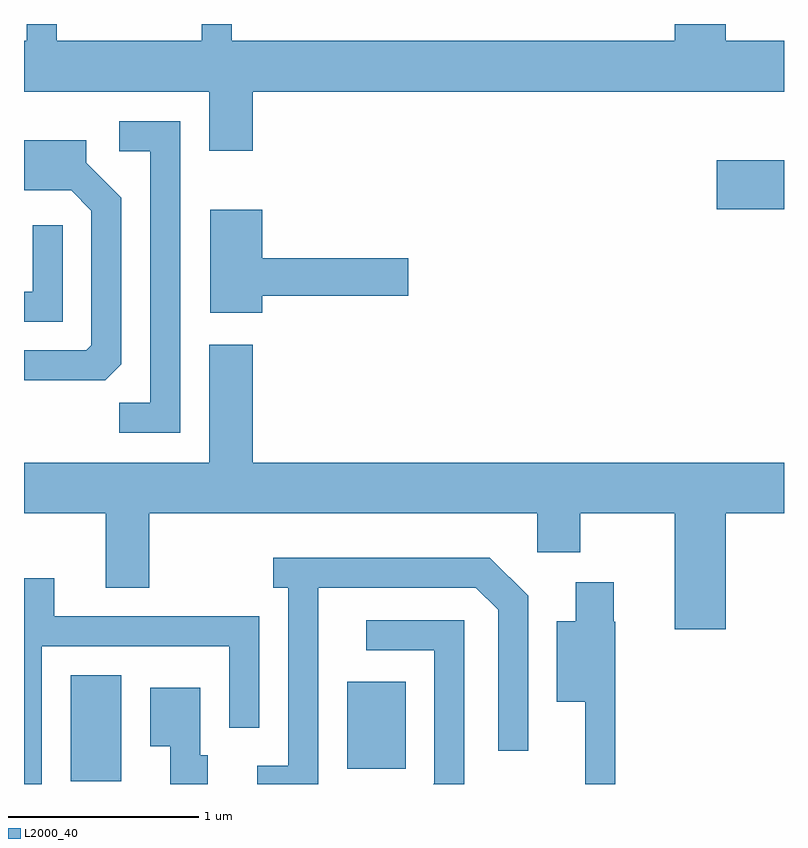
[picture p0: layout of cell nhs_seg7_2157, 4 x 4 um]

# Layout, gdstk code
import gdstk
lib = gdstk.Library(unit=1e-6, precision=1e-09)
def R(c, l, rs):  # rectangles x0, y0, x1, y1
    for r in rs: c.add(gdstk.rectangle(r[:2], r[2:], *l))
def P(c, l, *ps):  # polygons
    for p in ps: c.add(gdstk.Polygon(p, *l))
L2000_40 = (2000, 40)

nhs_seg7_2157 = lib.new_cell('nhs_seg7_2157')
R(nhs_seg7_2157, L2000_40, [(251.856,1686.266,252.124,1686.824), (253.311,1686.331,253.619,1686.789), (255.256,1689.276,255.611,1689.534)])
P(nhs_seg7_2157, L2000_40, [(252.814,1689.896),(255.611,1689.896),(255.611,1690.164),(255.304,1690.164),(255.304,1690.252),(255.036,1690.252),(255.036,1690.164),(252.704,1690.164),(252.704,1690.252),(252.546,1690.252),(252.546,1690.164),(251.784,1690.164),(251.784,1690.252),(251.626,1690.252),(251.626,1690.164),(251.611,1690.164),(251.611,1689.896),(252.586,1689.896),(252.586,1689.586),(252.814,1689.586)],
  [(252.434,1689.739),(252.113,1689.739),(252.113,1689.581),(252.276,1689.581),(252.276,1688.259),(252.113,1688.259),(252.113,1688.101),(252.434,1688.101)],
  [(252.124,1688.462),(252.124,1689.337),(251.939,1689.522),(251.939,1689.639),(251.611,1689.639),(251.611,1689.376),(251.859,1689.376),(251.966,1689.269),(251.966,1688.562),(251.939,1688.534),(251.611,1688.534),(251.611,1688.376),(252.039,1688.376)],
  [(252.864,1688.821),(253.634,1688.821),(253.634,1689.019),(252.864,1689.019),(252.864,1689.274),(252.591,1689.274),(252.591,1688.731),(252.864,1688.731)],
  [(251.814,1689.193),(251.656,1689.193),(251.656,1688.844),(251.611,1688.844),(251.611,1688.686),(251.814,1688.686)],
  [(255.304,1687.676),(255.611,1687.676),(255.611,1687.944),(252.814,1687.944),(252.814,1688.564),(252.586,1688.564),(252.586,1687.944),(251.611,1687.944),(251.611,1687.676),(252.041,1687.676),(252.041,1687.286),(252.269,1687.286),(252.269,1687.676),(254.311,1687.676),(254.311,1687.471),(254.539,1687.471),(254.539,1687.676),(255.036,1687.676),(255.036,1687.066),(255.304,1687.066)],
  [(253.159,1687.286),(253.989,1687.286),(254.106,1687.169),(254.106,1686.428),(254.264,1686.428),(254.264,1687.242),(254.062,1687.444),(252.923,1687.444),(252.923,1687.286),(253.001,1687.286),(253.001,1686.349),(252.838,1686.349),(252.838,1686.252),(253.159,1686.252)],
  [(251.704,1686.976),(252.691,1686.976),(252.691,1686.548),(252.849,1686.548),(252.849,1687.134),(251.769,1687.134),(251.769,1687.334),(251.611,1687.334),(251.611,1686.252),(251.704,1686.252)],
  [(254.724,1687.105),(254.714,1687.105),(254.714,1687.314),(254.516,1687.314),(254.516,1687.109),(254.416,1687.109),(254.416,1686.686),(254.566,1686.686),(254.566,1686.252),(254.724,1686.252)],
  [(253.929,1687.114),(253.413,1687.114),(253.413,1686.956),(253.771,1686.956),(253.771,1686.257),(253.766,1686.252),(253.929,1686.252)],
  [(252.579,1686.404),(252.539,1686.404),(252.539,1686.759),(252.276,1686.759),(252.276,1686.451),(252.381,1686.451),(252.381,1686.252),(252.579,1686.252)])

lib.write_gds('nhs_seg7_2157.gds')
